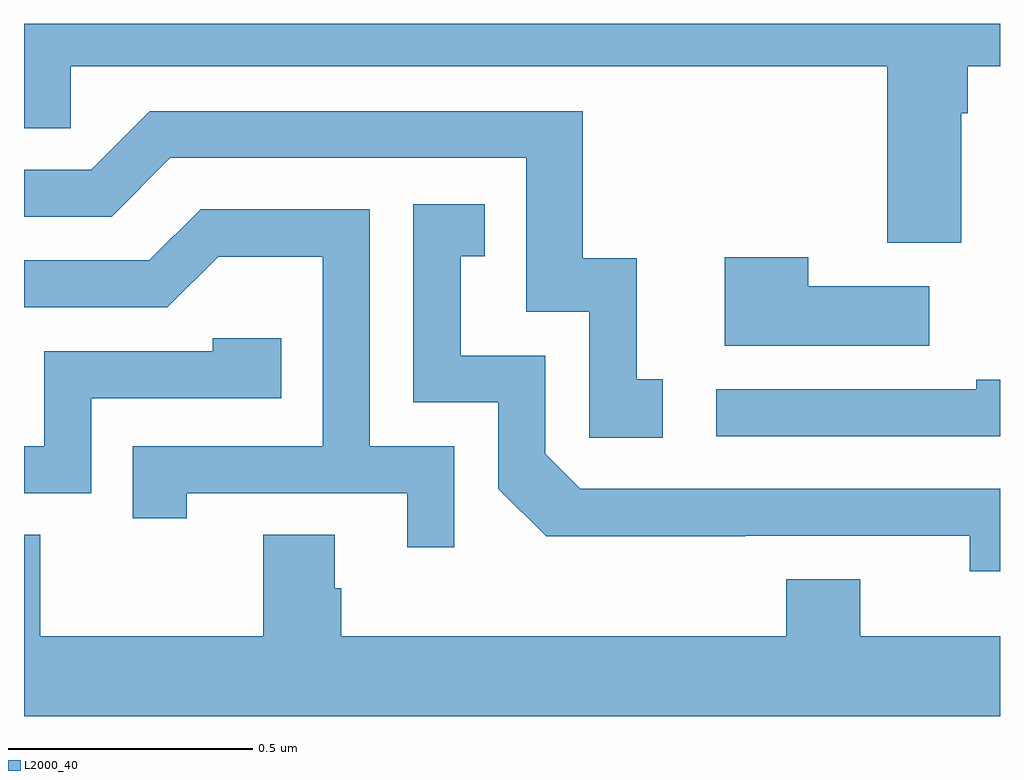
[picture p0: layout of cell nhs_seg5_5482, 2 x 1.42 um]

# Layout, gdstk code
import gdstk
lib = gdstk.Library(unit=1e-6, precision=1e-09)
def P(c, l, *ps):  # polygons
    for p in ps: c.add(gdstk.Polygon(p, *l))
L2000_40 = (2000, 40)

nhs_seg5_5482 = lib.new_cell('nhs_seg5_5482')
P(nhs_seg5_5482, L2000_40, [(184.921,904.616),(184.934,904.616),(184.934,904.712),(185,904.712),(185,904.799),(183,904.799),(183,904.585),(183.096,904.585),(183.096,904.712),(184.769,904.712),(184.769,904.35),(184.921,904.35)],
  [(184.309,904.071),(184.256,904.071),(184.256,904.318),(184.145,904.318),(184.145,904.62),(183.258,904.62),(183.138,904.5),(183,904.5),(183,904.404),(183.18,904.404),(183.3,904.524),(184.029,904.524),(184.029,904.209),(184.158,904.209),(184.158,903.951),(184.309,903.951)],
  [(185,903.846),(184.14,903.846),(184.068,903.918),(184.068,904.119),(183.895,904.119),(183.895,904.323),(183.944,904.323),(183.944,904.429),(183.798,904.429),(183.798,904.023),(183.972,904.023),(183.972,903.846),(184.07,903.749),(184.478,903.749),(184.478,903.75),(184.938,903.75),(184.938,903.677),(185,903.677)],
  [(183.882,903.933),(183.708,903.933),(183.708,904.419),(183.362,904.419),(183.257,904.314),(183,904.314),(183,904.218),(183.294,904.218),(183.398,904.322),(183.612,904.322),(183.612,903.933),(183.223,903.933),(183.223,903.786),(183.334,903.786),(183.334,903.837),(183.785,903.837),(183.785,903.726),(183.882,903.726)],
  [(184.855,904.261),(184.607,904.261),(184.607,904.321),(184.436,904.321),(184.436,904.139),(184.855,904.139)],
  [(183.138,904.032),(183.527,904.032),(183.527,904.155),(183.387,904.155),(183.387,904.128),(183.042,904.128),(183.042,903.933),(183,903.933),(183,903.837),(183.138,903.837)],
  [(185,904.07),(184.951,904.07),(184.951,904.05),(184.419,904.05),(184.419,903.954),(185,903.954)],
  [(185,903.544),(184.714,903.544),(184.714,903.661),(184.562,903.661),(184.562,903.544),(183.65,903.544),(183.65,903.642),(183.637,903.642),(183.637,903.752),(183.49,903.752),(183.49,903.544),(183.033,903.544),(183.033,903.752),(183,903.752),(183,903.38),(185,903.38)])

lib.write_gds('nhs_seg5_5482.gds')
